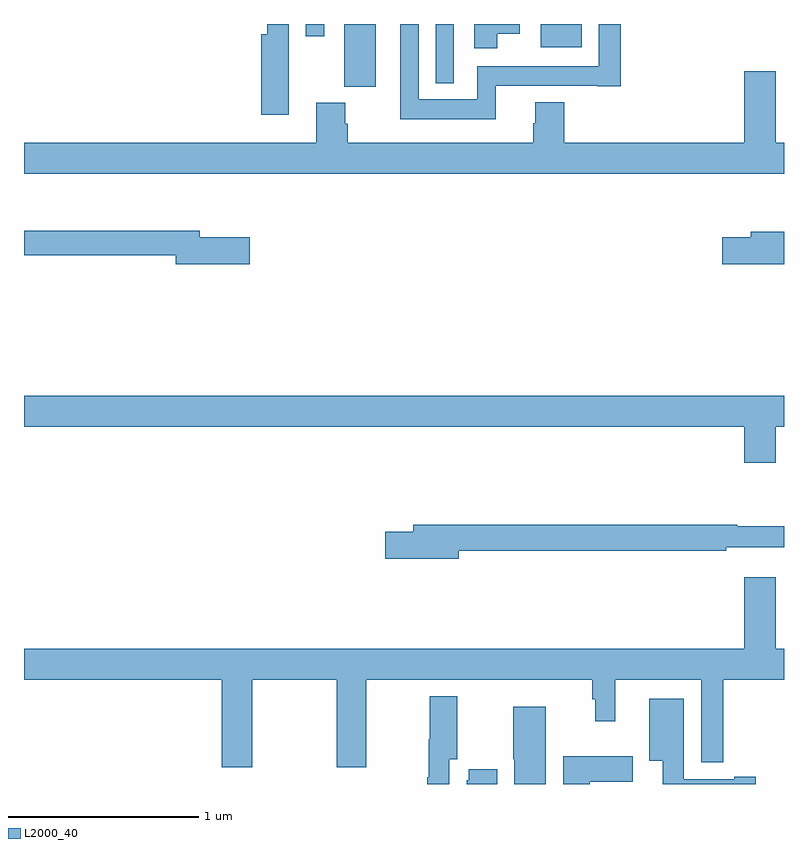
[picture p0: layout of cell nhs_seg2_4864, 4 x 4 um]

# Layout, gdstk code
import gdstk
lib = gdstk.Library(unit=1e-6, precision=1e-09)
def R(c, l, rs):  # rectangles x0, y0, x1, y1
    for r in rs: c.add(gdstk.rectangle(r[:2], r[2:], *l))
def P(c, l, *ps):  # polygons
    for p in ps: c.add(gdstk.Polygon(p, *l))
L2000_40 = (2000, 40)

nhs_seg2_4864 = lib.new_cell('nhs_seg2_4864')
R(nhs_seg2_4864, L2000_40, [(378.686,605.47,378.85,605.8), (379.167,605.489,379.263,605.8), (379.721,605.678,379.936,605.8), (378.483,605.736,378.579,605.8)])
P(nhs_seg2_4864, L2000_40, [(379.484,605.474),(380.018,605.474),(380.018,605.472),(380.141,605.472),(380.141,605.8),(380.025,605.8),(380.025,605.578),(379.386,605.578),(379.386,605.404),(379.077,605.404),(379.077,605.8),(378.98,605.8),(378.98,605.3),(379.484,605.3)],
  [(378.394,605.642),(378.393,605.642),(378.393,605.8),(378.281,605.8),(378.281,605.746),(378.248,605.746),(378.248,605.322),(378.394,605.322)],
  [(379.492,605.75),(379.609,605.75),(379.609,605.8),(379.37,605.8),(379.37,605.673),(379.492,605.673)],
  [(381,605.176),(380.956,605.176),(380.956,605.551),(380.792,605.551),(380.792,605.176),(379.844,605.176),(379.844,605.389),(379.691,605.389),(379.691,605.277),(379.679,605.277),(379.679,605.176),(378.704,605.176),(378.704,605.276),(378.691,605.276),(378.691,605.385),(378.539,605.385),(378.539,605.176),(377,605.176),(377,605.012),(381,605.012)],
  [(378.187,604.677),(377.926,604.677),(377.926,604.711),(377,604.711),(377,604.582),(377.798,604.582),(377.798,604.535),(378.187,604.535)],
  [(381,604.707),(380.825,604.707),(380.825,604.677),(380.676,604.677),(380.676,604.535),(381,604.535)],
  [(380.956,603.68),(381,603.68),(381,603.844),(377,603.844),(377,603.68),(380.792,603.68),(380.792,603.492),(380.956,603.492)],
  [(379.288,603.028),(380.696,603.028),(380.696,603.047),(381,603.047),(381,603.157),(380.753,603.157),(380.753,603.164),(379.049,603.164),(379.049,603.128),(378.9,603.128),(378.9,602.986),(379.288,602.986)],
  [(378.201,602.348),(378.646,602.348),(378.646,601.887),(378.801,601.887),(378.801,602.348),(379.992,602.348),(379.992,602.247),(380.007,602.247),(380.007,602.13),(380.113,602.13),(380.113,602.348),(380.565,602.348),(380.565,601.914),(380.681,601.914),(380.681,602.348),(381,602.348),(381,602.512),(380.956,602.512),(380.956,602.887),(380.792,602.887),(380.792,602.512),(377,602.512),(377,602.348),(378.041,602.348),(378.041,601.887),(378.201,601.887)],
  [(379.239,601.931),(379.279,601.931),(379.279,602.263),(379.135,602.263),(379.135,602.035),(379.131,602.035),(379.131,601.835),(379.123,601.835),(379.123,601.8),(379.239,601.8)],
  [(380.851,601.838),(380.738,601.838),(380.738,601.825),(380.473,601.825),(380.473,602.248),(380.291,602.248),(380.291,601.922),(380.363,601.922),(380.363,601.8),(380.851,601.8)],
  [(379.747,602.206),(379.574,602.206),(379.574,601.929),(379.58,601.929),(379.58,601.8),(379.747,601.8)],
  [(379.978,601.811),(380.203,601.811),(380.203,601.945),(379.838,601.945),(379.838,601.8),(379.978,601.8)],
  [(379.492,601.878),(379.34,601.878),(379.34,601.821),(379.331,601.821),(379.331,601.8),(379.492,601.8)])

lib.write_gds('nhs_seg2_4864.gds')
